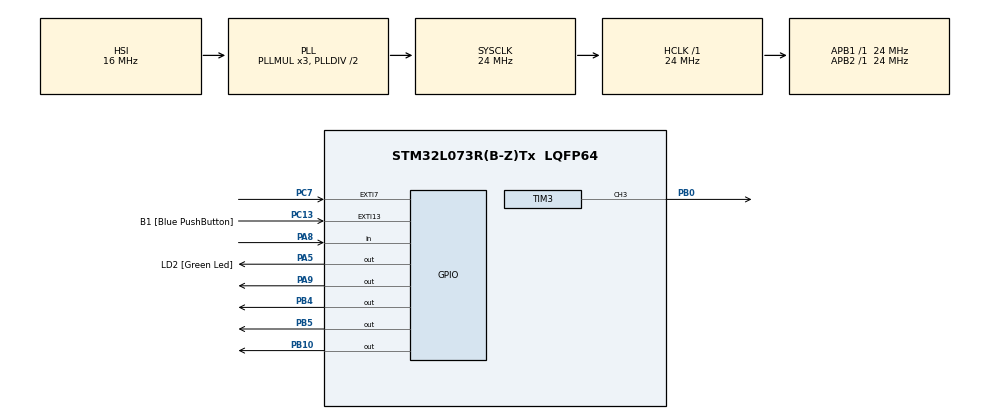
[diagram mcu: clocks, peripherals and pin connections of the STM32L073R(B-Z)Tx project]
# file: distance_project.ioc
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Mcu.Family=STM32L0
Mcu.Name=STM32L073R(B-Z)Tx
Mcu.Package=LQFP64
NVIC.EXTI4_15_IRQn=true\:0\:0\:false\:false\:true\:true\:true\:true
PA13.GPIO_Label=TMS
PA13.Signal=SYS_SWDIO
PA14.GPIO_Label=TCK
PA14.Signal=SYS_SWCLK
PA2.GPIO_Label=USART_TX
PA2.Signal=USART2_TX
PA3.GPIO_Label=USART_RX
PA3.Signal=USART2_RX
PA5.GPIO_Label=LD2 [Green Led]
PA5.Signal=GPIO_Output
PA8.Signal=GPIO_Input
PA9.Signal=GPIO_Output
PB0.Signal=S_TIM3_CH3
PB10.Signal=GPIO_Output
PB4.Signal=GPIO_Output
PB5.Signal=GPIO_Output
PC13.GPIO_Label=B1 [Blue PushButton]
PC13.GPIO_ModeDefaultEXTI=GPIO_MODE_IT_FALLING
PC13.Signal=GPXTI13
PC14-OSC32_IN.Signal=RCC_OSC32_IN
PC15-OSC32_OUT.Signal=RCC_OSC32_OUT
PC7.GPIO_PuPd=GPIO_PULLDOWN
PC7.Signal=GPXTI7
PH0-OSC_IN.GPIO_Label=MCO
PH0-OSC_IN.Mode=HSE-External-Oscillator
PH0-OSC_IN.Signal=RCC_OSC_IN
PH1-OSC_OUT.Mode=HSE-External-Oscillator
PH1-OSC_OUT.Signal=RCC_OSC_OUT
ProjectManager.HeapSize=0x200
ProjectManager.StackSize=0x400
ProjectManager.TargetToolchain=STM32CubeIDE
RCC.AHBFreq_Value=24000000
RCC.APB1Freq_Value=24000000
RCC.APB1TimFreq_Value=24000000
RCC.APB2Freq_Value=24000000
RCC.APB2TimFreq_Value=24000000
RCC.HCLKFreq_Value=24000000
RCC.HSE_VALUE=8000000
RCC.HSI16_VALUE=16000000
RCC.HSI48_VALUE=48000000
RCC.HSI_VALUE=16000000
RCC.LSEState=RCC_LSE_ON
RCC.LSE_VALUE=32768
RCC.MSI_VALUE=2097000
RCC.SYSCLKFreq_VALUE=24000000
RCC.SYSCLKSource=RCC_SYSCLKSOURCE_PLLCLK
RCC.VCOOutputFreq_Value=48000000
SH.S_TIM3_CH3.0=TIM3_CH3,PWM Generation3 CH3
TIM2.Prescaler=23
TIM3.Channel-PWM\ Generation3\ CH3=TIM_CHANNEL_3
TIM3.Prescaler=355
VP_TIM2_VS_ClockSourceINT.Mode=Internal
VP_TIM3_VS_ClockSourceINT.Mode=Internal
board=NUCLEO-L073RZ

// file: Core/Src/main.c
/* USER CODE BEGIN Header */
/**
  ******************************************************************************
  * @file           : main.c
  * @brief          : Main program body
  ******************************************************************************
  * @attention
  *
  * Copyright (c) 2022 STMicroelectronics.
  * All rights reserved.
  *
  * This software is licensed under terms that can be found in the LICENSE file
  * in the root directory of this software component.
  * If no LICENSE file comes with this software, it is provided AS-IS.
  *
  ******************************************************************************
  */
/* USER CODE END Header */
#include "main.h"

 TIM_HandleTypeDef htim2;
TIM_HandleTypeDef htim3;

/* USER CODE BEGIN PV */
uint32_t pMillis;
uint32_t Value1 = 0;
uint32_t Value2 = 0;
int Distance  = 0;  // cm
int counter = 0;
/* USER CODE END PV */

void SystemClock_Config(void);
static void MX_GPIO_Init(void);
static void MX_TIM2_Init(void);
static void MX_TIM3_Init(void);

/* USER CODE BEGIN 0 */
void HAL_GPIO_EXTI_Callback(uint16_t GPIO_Pin)
{
	if(GPIO_Pin == GPIO_PIN_7){
		counter++;
	}
}
void change_angle(int angle){
		angle=angle+45;
		__HAL_TIM_SET_COMPARE(&htim3,TIM_CHANNEL_3,angle);
}
/* USER CODE END 0 */

int main(void)
{

  /* MCU Configuration--------------------------------------------------------*/

  /* Reset of all peripherals, Initializes the Flash interface and the Systick. */
  HAL_Init();

  /* Configure the system clock */
  SystemClock_Config();

  /* Initialize all configured peripherals */
  MX_GPIO_Init();
  MX_TIM2_Init();
  MX_TIM3_Init();
  /* USER CODE BEGIN 2 */
  HAL_TIM_PWM_Start(&htim3,TIM_CHANNEL_3);
  HAL_TIM_Base_Start(&htim2);
   HAL_GPIO_WritePin(GPIOA, GPIO_PIN_9, GPIO_PIN_RESET);  // pull the TRIG pin low
  /* USER CODE END 2 */

  /* Infinite loop */
  /* USER CODE BEGIN WHILE */
  while (1)
  {
	  HAL_GPIO_WritePin(GPIOA, GPIO_PIN_9, GPIO_PIN_SET);  // pull the TRIG pin HIGH
	      __HAL_TIM_SET_COUNTER(&htim2, 0);
	      while (__HAL_TIM_GET_COUNTER (&htim2) < 10);  // wait for 10 us
	      HAL_GPIO_WritePin(GPIOA, GPIO_PIN_9, GPIO_PIN_RESET);  // pull the TRIG pin low

	      pMillis = HAL_GetTick(); // used this to avoid infinite while loop  (for timeout)
	      // wait for the echo pin to go high
	      while (!(HAL_GPIO_ReadPin (GPIOA, GPIO_PIN_8)) && pMillis + 10 >  HAL_GetTick());
	      Value1 = __HAL_TIM_GET_COUNTER (&htim2);

	      pMillis = HAL_GetTick(); // used this to avoid infinite while loop (for timeout)
	      // wait for the echo pin to go low
	      while ((HAL_GPIO_ReadPin (GPIOA, GPIO_PIN_8)) && pMillis + 50 > HAL_GetTick());
	      Value2 = __HAL_TIM_GET_COUNTER (&htim2);

	      Distance = (Value2-Value1)* 0.034/2;
	      HAL_Delay(50);

	      int angle = 0;

	      if(Distance>=0 && Distance<10 && counter==1){
	    	  HAL_GPIO_TogglePin(GPIOB,GPIO_PIN_10);
	    	  angle = angle + 30;
	    	  change_angle(angle);
	      }
	      if(Distance>=10 && Distance<20 && counter==2){
	      	    	  HAL_GPIO_TogglePin(GPIOB,GPIO_PIN_4);
	      	    	  angle = angle + 45;
	      	    	change_angle(angle);
	      	      }
	      if(Distance>=20 && Distance<30 && counter==3){
	      	    	  HAL_GPIO_TogglePin(GPIOB,GPIO_PIN_5);
	      	    	  angle = angle + 60;
	      	    	  change_angle(angle);
	      	      }
	      if(counter>=4){
	    	  counter = 0;
	    	  angle = 0;
	    	  change_angle(angle);
	      }
    /* USER CODE END WHILE */

  }
}

void SystemClock_Config(void)
{
  RCC_OscInitTypeDef RCC_OscInitStruct = {0};
  RCC_ClkInitTypeDef RCC_ClkInitStruct = {0};

  /** Configure the main internal regulator output voltage
  */
  __HAL_PWR_VOLTAGESCALING_CONFIG(PWR_REGULATOR_VOLTAGE_SCALE1);

  /** Initializes the RCC Oscillators according to the specified parameters
  * in the RCC_OscInitTypeDef structure.
  */
  RCC_OscInitStruct.OscillatorType = RCC_OSCILLATORTYPE_HSI;
  RCC_OscInitStruct.HSIState = RCC_HSI_ON;
  RCC_OscInitStruct.HSICalibrationValue = RCC_HSICALIBRATION_DEFAULT;
  RCC_OscInitStruct.PLL.PLLState = RCC_PLL_ON;
  RCC_OscInitStruct.PLL.PLLSource = RCC_PLLSOURCE_HSI;
  RCC_OscInitStruct.PLL.PLLMUL = RCC_PLLMUL_3;
  RCC_OscInitStruct.PLL.PLLDIV = RCC_PLLDIV_2;
  if (HAL_RCC_OscConfig(&RCC_OscInitStruct) != HAL_OK)
  {
    Error_Handler();
  }

  /** Initializes the CPU, AHB and APB buses clocks
  */
  RCC_ClkInitStruct.ClockType = RCC_CLOCKTYPE_HCLK|RCC_CLOCKTYPE_SYSCLK
                              |RCC_CLOCKTYPE_PCLK1|RCC_CLOCKTYPE_PCLK2;
  RCC_ClkInitStruct.SYSCLKSource = RCC_SYSCLKSOURCE_PLLCLK;
  RCC_ClkInitStruct.AHBCLKDivider = RCC_SYSCLK_DIV1;
  RCC_ClkInitStruct.APB1CLKDivider = RCC_HCLK_DIV1;
  RCC_ClkInitStruct.APB2CLKDivider = RCC_HCLK_DIV1;

  if (HAL_RCC_ClockConfig(&RCC_ClkInitStruct, FLASH_LATENCY_1) != HAL_OK)
  {
    Error_Handler();
  }
}

static void MX_TIM2_Init(void)
{

  TIM_ClockConfigTypeDef sClockSourceConfig = {0};
  TIM_MasterConfigTypeDef sMasterConfig = {0};

  htim2.Instance = TIM2;
  htim2.Init.Prescaler = 23;
  htim2.Init.CounterMode = TIM_COUNTERMODE_UP;
  htim2.Init.Period = 65535;
  htim2.Init.ClockDivision = TIM_CLOCKDIVISION_DIV1;
  htim2.Init.AutoReloadPreload = TIM_AUTORELOAD_PRELOAD_DISABLE;
  if (HAL_TIM_Base_Init(&htim2) != HAL_OK)
  {
    Error_Handler();
  }
  sClockSourceConfig.ClockSource = TIM_CLOCKSOURCE_INTERNAL;
  if (HAL_TIM_ConfigClockSource(&htim2, &sClockSourceConfig) != HAL_OK)
  {
    Error_Handler();
  }
  sMasterConfig.MasterOutputTrigger = TIM_TRGO_RESET;
  sMasterConfig.MasterSlaveMode = TIM_MASTERSLAVEMODE_DISABLE;
  if (HAL_TIMEx_MasterConfigSynchronization(&htim2, &sMasterConfig) != HAL_OK)
  {
    Error_Handler();
  }

}

static void MX_TIM3_Init(void)
{

  TIM_ClockConfigTypeDef sClockSourceConfig = {0};
  TIM_MasterConfigTypeDef sMasterConfig = {0};
  TIM_OC_InitTypeDef sConfigOC = {0};

  htim3.Instance = TIM3;
  htim3.Init.Prescaler = 355;
  htim3.Init.CounterMode = TIM_COUNTERMODE_UP;
  htim3.Init.Period = 65535;
  htim3.Init.ClockDivision = TIM_CLOCKDIVISION_DIV1;
  htim3.Init.AutoReloadPreload = TIM_AUTORELOAD_PRELOAD_DISABLE;
  if (HAL_TIM_Base_Init(&htim3) != HAL_OK)
  {
    Error_Handler();
  }
  sClockSourceConfig.ClockSource = TIM_CLOCKSOURCE_INTERNAL;
  if (HAL_TIM_ConfigClockSource(&htim3, &sClockSourceConfig) != HAL_OK)
  {
    Error_Handler();
  }
  if (HAL_TIM_PWM_Init(&htim3) != HAL_OK)
  {
    Error_Handler();
  }
  sMasterConfig.MasterOutputTrigger = TIM_TRGO_RESET;
  sMasterConfig.MasterSlaveMode = TIM_MASTERSLAVEMODE_DISABLE;
  if (HAL_TIMEx_MasterConfigSynchronization(&htim3, &sMasterConfig) != HAL_OK)
  {
    Error_Handler();
  }
  sConfigOC.OCMode = TIM_OCMODE_PWM1;
  sConfigOC.Pulse = 0;
  sConfigOC.OCPolarity = TIM_OCPOLARITY_HIGH;
  sConfigOC.OCFastMode = TIM_OCFAST_DISABLE;
  if (HAL_TIM_PWM_ConfigChannel(&htim3, &sConfigOC, TIM_CHANNEL_3) != HAL_OK)
  {
    Error_Handler();
  }
  HAL_TIM_MspPostInit(&htim3);

}

static void MX_GPIO_Init(void)
{
  GPIO_InitTypeDef GPIO_InitStruct = {0};

  /* GPIO Ports Clock Enable */
  __HAL_RCC_GPIOC_CLK_ENABLE();
  __HAL_RCC_GPIOH_CLK_ENABLE();
  __HAL_RCC_GPIOA_CLK_ENABLE();
  __HAL_RCC_GPIOB_CLK_ENABLE();

  /*Configure GPIO pin Output Level */
  HAL_GPIO_WritePin(GPIOA, LD2_Pin|GPIO_PIN_9, GPIO_PIN_RESET);

  /*Configure GPIO pin Output Level */
  HAL_GPIO_WritePin(GPIOB, GPIO_PIN_10|GPIO_PIN_4|GPIO_PIN_5, GPIO_PIN_RESET);

  /*Configure GPIO pin : B1_Pin */
  GPIO_InitStruct.Pin = B1_Pin;
  GPIO_InitStruct.Mode = GPIO_MODE_IT_FALLING;
  GPIO_InitStruct.Pull = GPIO_NOPULL;
  HAL_GPIO_Init(B1_GPIO_Port, &GPIO_InitStruct);

  /*Configure GPIO pins : USART_TX_Pin USART_RX_Pin */
  GPIO_InitStruct.Pin = USART_TX_Pin|USART_RX_Pin;
  GPIO_InitStruct.Mode = GPIO_MODE_AF_PP;
  GPIO_InitStruct.Pull = GPIO_NOPULL;
  GPIO_InitStruct.Speed = GPIO_SPEED_FREQ_VERY_HIGH;
  GPIO_InitStruct.Alternate = GPIO_AF4_USART2;
  HAL_GPIO_Init(GPIOA, &GPIO_InitStruct);

  /*Configure GPIO pins : LD2_Pin PA9 */
  GPIO_InitStruct.Pin = LD2_Pin|GPIO_PIN_9;
  GPIO_InitStruct.Mode = GPIO_MODE_OUTPUT_PP;
  GPIO_InitStruct.Pull = GPIO_NOPULL;
  GPIO_InitStruct.Speed = GPIO_SPEED_FREQ_LOW;
  HAL_GPIO_Init(GPIOA, &GPIO_InitStruct);

  /*Configure GPIO pins : PB10 PB4 PB5 */
  GPIO_InitStruct.Pin = GPIO_PIN_10|GPIO_PIN_4|GPIO_PIN_5;
  GPIO_InitStruct.Mode = GPIO_MODE_OUTPUT_PP;
  GPIO_InitStruct.Pull = GPIO_NOPULL;
  GPIO_InitStruct.Speed = GPIO_SPEED_FREQ_LOW;
  HAL_GPIO_Init(GPIOB, &GPIO_InitStruct);

  /*Configure GPIO pin : PC7 */
  GPIO_InitStruct.Pin = GPIO_PIN_7;
  GPIO_InitStruct.Mode = GPIO_MODE_IT_RISING;
  GPIO_InitStruct.Pull = GPIO_PULLDOWN;
  HAL_GPIO_Init(GPIOC, &GPIO_InitStruct);

  /*Configure GPIO pin : PA8 */
  GPIO_InitStruct.Pin = GPIO_PIN_8;
  GPIO_InitStruct.Mode = GPIO_MODE_INPUT;
  GPIO_InitStruct.Pull = GPIO_NOPULL;
  HAL_GPIO_Init(GPIOA, &GPIO_InitStruct);

  /* EXTI interrupt init*/
  HAL_NVIC_SetPriority(EXTI4_15_IRQn, 0, 0);
  HAL_NVIC_EnableIRQ(EXTI4_15_IRQn);

}

void Error_Handler(void)
{
  __disable_irq();
  while (1)
  {
  }
}
